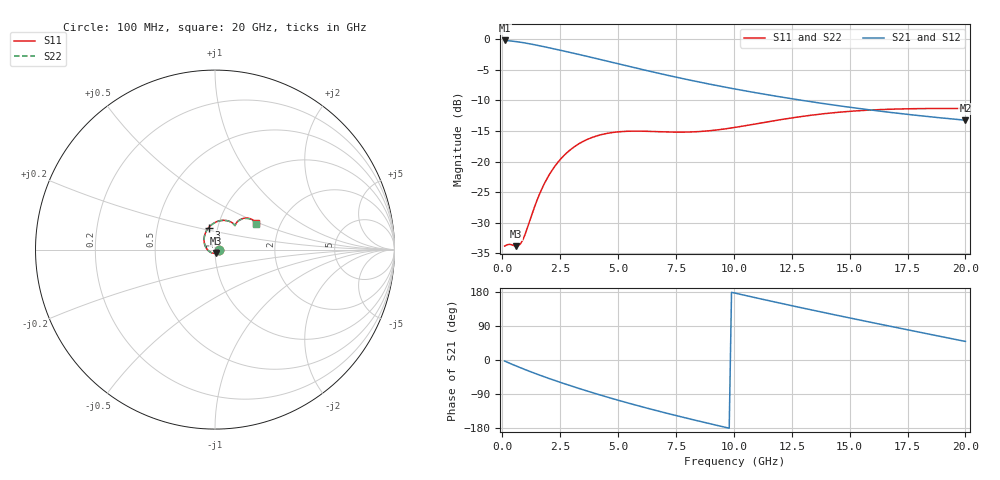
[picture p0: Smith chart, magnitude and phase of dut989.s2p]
! Touchstone file exported from HFSS 2024.1.0
!  File:  C:/UserFiles/LocalFiles/RDL_TSV_Batchsim/temp_RDL_TSV_989_1779975222.aedt
!  Generated:  09:48:22 PM May 28, 2026
!  Design:  RDL_TSV
!  Project:  temp_RDL_TSV_989_1779975222
!  Setup:  Setup1
!  Solution:  Sweep
! Variables:
!  dtsv = 14.88um
!  hbump = 3um
!  htsv = 71.43um
!  ldown = 692.96um
!  lrdl = 674.9um
!  p = 40
!  p1 = 48.5um
!  rhole = 10um
!  subl = 4778.48um
!  t = 450um
!  tdown = 3.15um
!  trdl = 2.97um
!  viad = 10um
!  wdown = 26.84um
!  wrdl = 28.42um
!  xbump = 18um
# GHz S MA R 50.000000
! Terminal data exported
! Port[1] = TM1_1_T1
! Port[2] = TM1_4_T1
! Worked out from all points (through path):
!   200 points, 100 MHz to 20 GHz, reference 50 ohm
!   highest |S21| = -0.19 dB at 100 MHz (marker M1); lowest = -13.2 dB at 20 GHz (marker M2)
!   group delay of S21, straight-line fit = 41.1 ps
!   lowest |S11| = -33.8 dB at 600 MHz (marker M3), VSWR 1.04, Z = 50.7 - j1.94 ohm
!   |S11| at or under -10 dB: start of sweep to end of sweep
!   |S22| runs from -33.8 to -11.4 dB; largest |S21 - S12| = 1.1e-14
!   S11 on the Smith chart (normalised r, x): 100 MHz: 1.04, -0.01; 3 GHz: 0.90, +0.23; 20 GHz: 1.50, +0.48
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0.1  0.02041 -7.2  0.9787 -2.8  0.9787 -2.8  0.02041 -7.2
! Gamma 0 0 0 0
! Port Impedance 50 0 50 0
0.3  0.02108 -27.5  0.9721 -8.1  0.9721 -8.1  0.02108 -27.5
0.6  0.02036 -70.4  0.9578 -15.8  0.9578 -15.8  0.02038 -70.3
0.8  0.02146 -104.5  0.946 -20.8  0.946 -20.8  0.02148 -104.4
0.9  0.02323 -121.1  0.9394 -23.3  0.9394 -23.3  0.02324 -121.0
1.3  0.03801 -171.6  0.9102 -32.8  0.9102 -32.8  0.03795 -171.5
1.7  0.05939 158.4  0.8785 -41.8  0.8785 -41.8  0.05924 158.5
2  0.07651 142.4  0.8544 -48.4  0.8544 -48.4  0.07631 142.5
2.3  0.09328 129.5  0.8304 -54.7  0.8304 -54.7  0.09302 129.5
3  0.1277 106.2  0.7756 -69.0  0.7756 -69.0  0.1273 106.2
3.5  0.1466 93.3  0.7377 -78.7  0.7377 -78.7  0.1462 93.3
4.3  0.1666 77.2  0.6793 -93.7  0.6793 -93.7  0.1662 77.2
5.1  0.1758 65.5  0.6248 -107.9  0.6248 -107.9  0.1753 65.5
5.9  0.1776 57.5  0.5749 -121.3  0.5749 -121.3  0.1771 57.5
6.8  0.1756 52.4  0.525 -135.8  0.525 -135.8  0.1752 52.3
8.3  0.1753 50.3  0.4556 -158.5  0.4556 -158.5  0.1748 50.1
10.1  0.1911 51.4  0.3909 175.8  0.3909 175.8  0.1903 51.1
11.7  0.2153 50.3  0.3458 154.0  0.3458 154.0  0.214 50.0
13.4  0.2404 46.8  0.3075 131.5  0.3075 131.5  0.2386 46.5
15  0.2577 42.5  0.2784 111.0  0.2784 111.0  0.2555 42.2
16.7  0.268 38.1  0.2534 89.7  0.2534 89.7  0.2654 37.9
20  0.2722 32.8  0.2181 49.0  0.2181 49.0  0.2691 32.7
